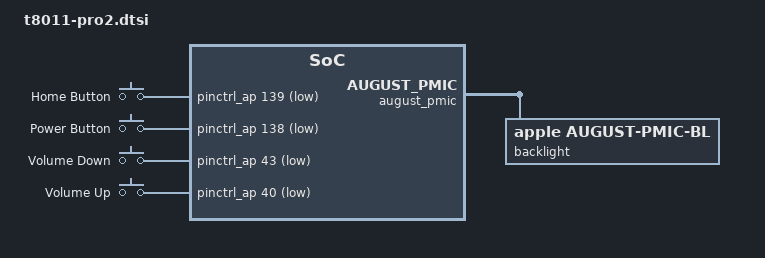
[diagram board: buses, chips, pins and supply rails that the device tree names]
// SPDX-License-Identifier: GPL-2.0+ OR MIT
/*
 * Apple iPad Pro 2 common device tree
 *
 * Copyright (c) 2022, Konrad Dybcio <konradybcio@kernel.org>
 */

#include <dt-bindings/input/input.h>

/ {
	chassis-type = "tablet";

	gpio-keys {
		compatible = "gpio-keys";

		button-home {
			label = "Home Button";
			gpios = <&pinctrl_ap 139 GPIO_ACTIVE_LOW>;
			linux,code = <KEY_HOMEPAGE>;
			wakeup-source;
		};

		button-power {
			label = "Power Button";
			gpios = <&pinctrl_ap 138 GPIO_ACTIVE_LOW>;
			linux,code = <KEY_POWER>;
			wakeup-source;
		};

		button-voldown {
			label = "Volume Down";
			gpios = <&pinctrl_ap 43 GPIO_ACTIVE_LOW>;
			linux,code = <KEY_VOLUMEDOWN>;
		};

		button-volup {
			label = "Volume Up";
			gpios = <&pinctrl_ap 40 GPIO_ACTIVE_LOW>;
			linux,code = <KEY_VOLUMEUP>;
		};
	};
};

&august_pmic {
	backlight@b00 {
		compatible = "apple,august-pmic-bl", "apple,aria-pmic-bl";
		reg = <0xb00 0x2>;
	};
};

&ps_dcs6 {
	apple,always-on; /* LPDDR4 interface */
};

&ps_dcs7 {
	apple,always-on; /* LPDDR4 interface */
};
